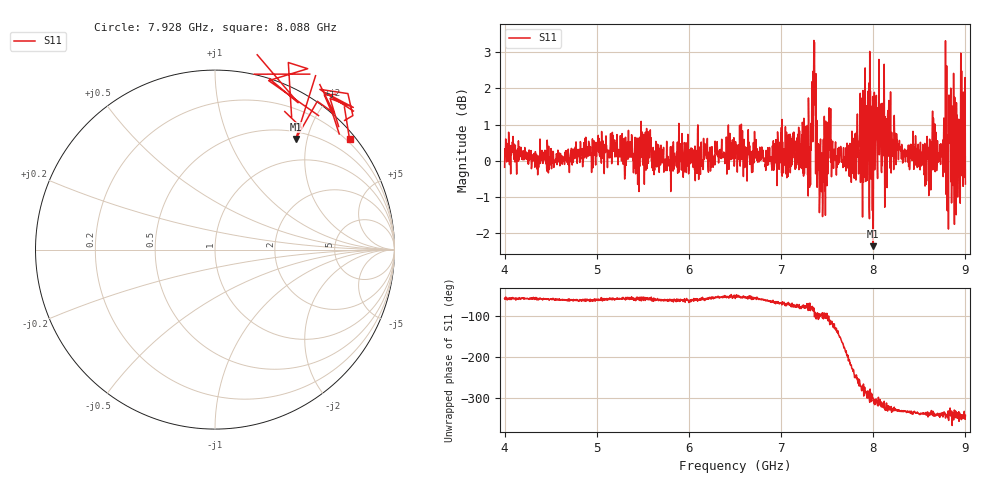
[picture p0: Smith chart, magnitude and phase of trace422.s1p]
! Created with skrf 1.8.0 (http://scikit-rf.org).
# Hz S RI R 50.0
!freq ReS11 ImS11
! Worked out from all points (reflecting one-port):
!   1601 points, 4 GHz to 9 GHz, reference 50 ohm
!   lowest |S11| = -2.4 dB at 8 GHz (marker M1), VSWR 7.44, Z = 30.6 + j90.3 ohm
!   phase of S11 starts at -58 deg and turns -284 deg over the sweep
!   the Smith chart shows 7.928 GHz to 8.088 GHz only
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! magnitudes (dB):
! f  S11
! 4 GHz  -0.2
! 4.069 GHz  0.4
! 4.625 GHz  -0.1
! 5.25 GHz  0.1
! 5.875 GHz  0.5
! 6.5 GHz  0.3
! 7.125 GHz  0.7
! 7.294 GHz  -1.0
! 7.319 GHz  -0.7
! 7.356 GHz  3.3
! 7.378 GHz  2.4
! 7.397 GHz  0.0
! 7.428 GHz  0.6
! 7.525 GHz  0.9
! 7.591 GHz  0.5
! 7.75 GHz  -0.1
! 7.95 GHz  0.9
! 8 GHz  -2.4
! 8.038 GHz  0.8
! 8.097 GHz  -0.1
! 8.375 GHz  0.0
! 8.578 GHz  -0.6
! 8.659 GHz  -0.1
! 8.712 GHz  0.1
! 8.822 GHz  1.8
! 8.9 GHz  -1.5
! 8.972 GHz  1.0
! 9 GHz  -0.6
